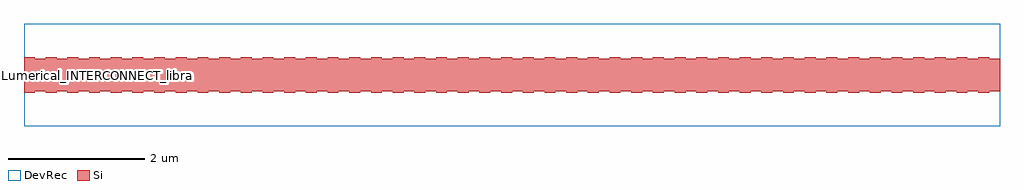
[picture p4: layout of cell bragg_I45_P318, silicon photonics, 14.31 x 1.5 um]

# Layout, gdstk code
import gdstk
lib = gdstk.Library(unit=1e-6, precision=1e-09)
def R(c, l, rs):  # rectangles x0, y0, x1, y1
    for r in rs: c.add(gdstk.rectangle(r[:2], r[2:], *l))
def A(c, l, x, y, w, h, nx, ny, dx, dy):  # array of equal rectangles
    R(c, l, [(x+i*dx, y+j*dy, x+i*dx+w, y+j*dy+h) for i in range(nx) for j in range(ny)])
Si = (1, 0)
DevRec = (68, 0)

bragg_i45_p318 = lib.new_cell('bragg_I45_P318')
A(bragg_i45_p318, Si, 0, -0.26, 0.159, 0.26, 45, 2, 0.318, 0.26)
A(bragg_i45_p318, Si, 0.159, -0.24, 0.159, 0.24, 45, 2, 0.318, 0.24)
R(bragg_i45_p318, DevRec, [(0,-0.75,14.31,0.75)])
bragg_i45_p318.add(gdstk.Label('Lumerical_INTERCONNECT_library=Design kits/ebeam', (0,0), layer=68, texttype=0))
bragg_i45_p318.add(gdstk.Label('Component=ebeam_bragg_te1550', (1.431,0), layer=68, texttype=0))
bragg_i45_p318.add(gdstk.Label('Spice_param:number_of_periods=45 grating_period=3.18e-07 corrugation_width=2e-08 misalignment=0 sinusoidal=0', (1.59,0), layer=68, texttype=0))

lib.write_gds('bragg_I45_P318.gds')
